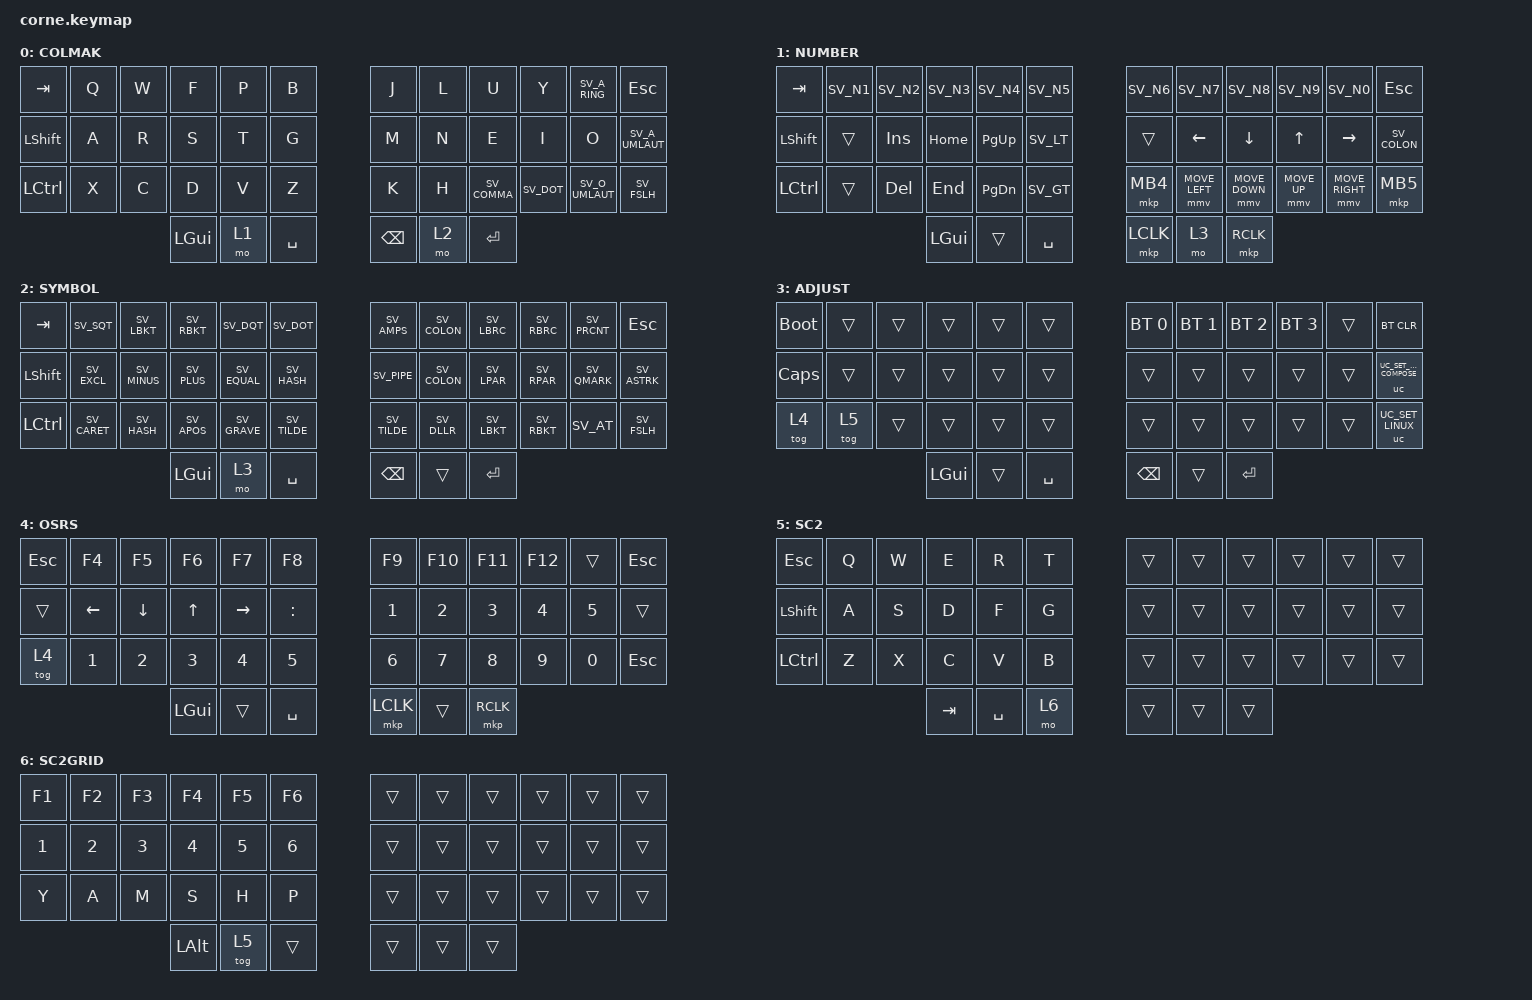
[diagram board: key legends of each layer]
#include <behaviors.dtsi>
#include <dt-bindings/zmk/keys.h>
#include <dt-bindings/zmk/bt.h>
#include <dt-bindings/zmk/pointing.h>
#include <dt-bindings/zmk/modifiers.h>
#include <behaviors/unicode.dtsi>
#include <locale/keys_sv.h>

#define ZMK_POINTING_DEFAULT_MOVE_VAL 2250  // default: 600
#define ZMK_MOUSE_DEFAULT_MOVE_VAL 2250
#define U_MOUSE_MOVE_DELAY 0

&uc {
  default-mode = <UC_MODE_LINUX>;  // Replace with desired input system.
};

&mmv {
    time-to-max-speed-ms = <300>; // default: 300
    acceleration-exponent = <1>; // default: 1
};

/ {
            keymap {
                    compatible = "zmk,keymap";

        default_layer {
            display-name = "COLMAK";
            bindings = <
                &kp TAB   &kp Q &kp W &kp F &kp P &kp B   &kp J &kp L  &kp U     &kp Y   &kp SV_A_RING &kp ESC
                &kp LSHFT &kp A &kp R &kp S &kp T &kp G   &kp M &kp N  &kp E     &kp I   &kp O    &kp SV_A_UMLAUT
                &kp LCTRL &kp X &kp C &kp D &kp V &kp Z   &kp K &kp H  &kp SV_COMMA &kp SV_DOT &kp SV_O_UMLAUT &kp SV_FSLH
                                  &kp LGUI &mo 1 &kp SPACE   &kp BSPC &mo 2 &kp RET
            >;
        };

        lower_layer {
            display-name = "NUMBER";
            bindings = <
                &kp TAB    &kp SV_N1       &kp SV_N2       &kp SV_N3       &kp SV_N4       &kp SV_N5         &kp SV_N6   &kp SV_N7   &kp SV_N8 &kp SV_N9  &kp SV_N0 &kp ESC
                &kp LSHFT  &trans       &kp INS      &kp HOME     &kp PG_UP    &kp SV_LT       &trans   &kp LEFT &kp DOWN &kp UP &kp RIGHT &kp SV_COLON
                &kp LCTRL  &trans       &kp DEL      &kp END      &kp PG_DN    &kp SV_GT       &mkp MB4 &mmv MOVE_LEFT &mmv MOVE_DOWN &mmv MOVE_UP &mmv MOVE_RIGHT &mkp MB5
                                         &kp LGUI     &trans       &kp SPACE    &mkp LCLK    &mo 3    &mkp RCLK
            >;
        };

        raise_layer {
            display-name = "SYMBOL";
        bindings = <
        &kp TAB    &kp SV_SQT      &kp SV_LBKT     &kp SV_RBKT     &kp SV_DQT      &kp SV_DOT        &kp SV_AMPS  &kp SV_COLON &kp SV_LBRC &kp SV_RBRC &kp SV_PRCNT &kp ESC
            &kp LSHFT  &kp SV_EXCL     &kp SV_MINUS    &kp SV_PLUS     &kp SV_EQUAL    &kp SV_HASH       &kp SV_PIPE  &kp SV_COLON &kp SV_LPAR &kp SV_RPAR &kp SV_QMARK &kp SV_ASTRK
            &kp LCTRL  &kp SV_CARET    &kp SV_HASH     &kp SV_APOS     &kp SV_GRAVE     &kp SV_TILDE      &kp SV_TILDE &kp SV_DLLR  &kp SV_LBKT &kp SV_RBKT &kp SV_AT  &kp SV_FSLH
                                     &kp LGUI     &mo 3        &kp SPACE    &kp BSPC       &trans    &kp RET
        >;
    };

    adjust_layer {
        display-name = "ADJUST";
        bindings = <
            &bootloader &trans &trans       &trans       &trans       &trans         &bt BT_SEL 0    &bt BT_SEL 1    &bt BT_SEL 2    &bt BT_SEL 3   &trans    &bt BT_CLR
            &kp CAPS    &trans    &trans    &trans     &trans       &trans         &trans    &trans    &trans   &trans    &trans   &uc UC_SET_WIN_COMPOSE
            &tog 4      &tog 5    &trans    &trans     &trans       &trans         &trans    &trans    &trans   &trans    &trans   &uc UC_SET_LINUX
                                     &kp LGUI     &trans       &kp SPACE    &kp BSPC       &trans    &kp RET
        >;
    };

    osrs_layer {
        display-name = "OSRS";
        bindings = <
            &kp ESC   &kp F4    &kp F5    &kp F6    &kp F7    &kp F8         &kp F9    &kp F10   &kp F11   &kp F12   &trans    &kp ESC
            &trans    &kp LEFT  &kp DOWN  &kp UP    &kp RIGHT &kp COLON      &kp N1    &kp N2    &kp N3    &kp N4    &kp N5    &trans
            &tog 4    &kp N1    &kp N2    &kp N3    &kp N4    &kp N5         &kp N6    &kp N7    &kp N8    &kp N9    &kp N0    &kp ESC
                                    &kp LGUI  &trans    &kp SPACE &mkp LCLK    &trans &mkp RCLK
             >;
        };

    // SC2 Protoss, left hand only. Enter via ADJUST (&tog 5); hold thumb 3 for grid hotkeys, press its middle thumb to exit.
    sc2_layer {
        display-name = "SC2";
        bindings = <
            &kp ESC   &kp Q     &kp W     &kp E     &kp R      &kp T          &trans &trans &trans &trans &trans &trans
            &kp LSHFT &kp A     &kp S     &kp D     &kp F      &kp G          &trans &trans &trans &trans &trans &trans
            &kp LCTRL &kp Z     &kp X     &kp C     &kp V      &kp B          &trans &trans &trans &trans &trans &trans
                                    &kp TAB &kp SPACE &mo 6       &trans &trans &trans
        >;
    };

    // Held from SC2: QWERTY-position grid for building/unit hotkeys (Probe E, Zealot Z, Stalker D, Nexus/Gateway via B/V menus...)
    sc2_grid_layer {
        display-name = "SC2GRID";
        bindings = <
            &kp F1    &kp F2    &kp F3    &kp F4    &kp F5    &kp F6         &trans &trans &trans &trans &trans &trans
            &kp N1    &kp N2    &kp N3    &kp N4    &kp N5    &kp N6         &trans &trans &trans &trans &trans &trans
            &kp Y     &kp A     &kp M     &kp S     &kp H     &kp P          &trans &trans &trans &trans &trans &trans
                                    &kp LALT  &tog 5    &trans        &trans &trans &trans
        >;
    };
};
};
